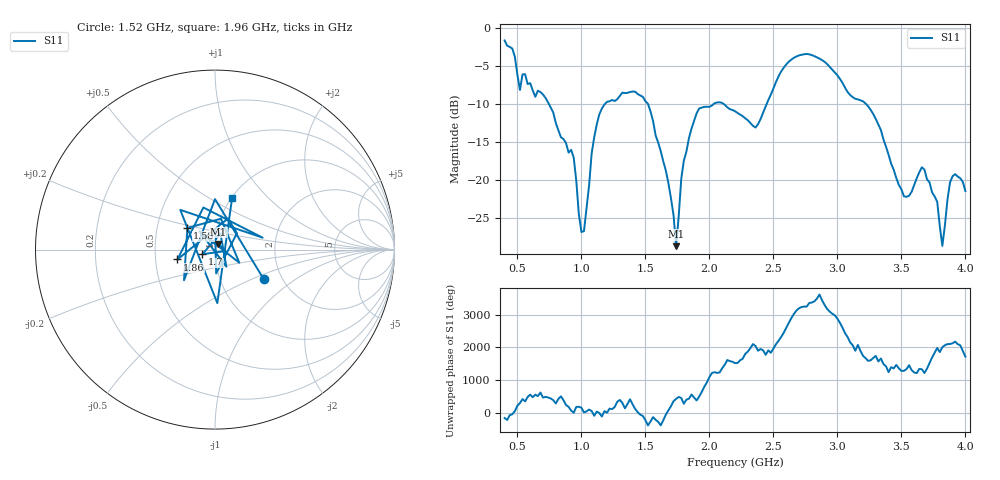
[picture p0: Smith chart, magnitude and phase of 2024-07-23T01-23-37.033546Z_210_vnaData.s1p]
!Created with skrf (http://scikit-rf.org).
# Hz S RI R 50.0
!freq ReS11 ImS11
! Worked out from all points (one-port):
!   181 points, 400 MHz to 4 GHz, reference 50 ohm
!   lowest |S11| = -28.8 dB at 1.74 GHz (marker M1), VSWR 1.08, Z = 51.7 + j3.3 ohm
!   |S11| at or under -10 dB: 745.1 MHz to 1.186 GHz (440.5 MHz wide, 45.6 % of centre); 1.519 GHz to 2.036 GHz (516.4 MHz wide, 29 % of centre); 3.222 GHz to end of sweep (the widest 3 of 4)
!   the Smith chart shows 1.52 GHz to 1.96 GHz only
!   S11 on the Smith chart (normalised r, x): 1.52 GHz: 1.61, -0.58; 1.58 GHz: 0.71, +0.18; 1.7 GHz: 0.87, -0.04; 1.86 GHz: 0.65, -0.07; 1.96 GHz: 1.01, +0.64
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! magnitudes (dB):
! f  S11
! 400 MHz  -1.7
! 520 MHz  -8.2
! 560 MHz  -6.1
! 860 MHz  -14.7
! 940 MHz  -17.1
! 980 MHz  -24.6
! 1.02 GHz  -26.8
! 1.14 GHz  -11.4
! 1.3 GHz  -9.0
! 1.52 GHz  -10.0
! 1.58 GHz  -14.2
! 1.7 GHz  -22.5
! 1.74 GHz  -28.8
! 1.76 GHz  -24.9
! 1.8 GHz  -17.5
! 1.86 GHz  -13.3
! 1.96 GHz  -10.4
! 2.2 GHz  -11.0
! 2.36 GHz  -13.1
! 2.66 GHz  -3.9
! 3.1 GHz  -8.9
! 3.28 GHz  -11.4
! 3.56 GHz  -22.1
! 3.68 GHz  -18.7
! 3.78 GHz  -22.9
! 3.82 GHz  -28.7
! 3.9 GHz  -19.5
! 4 GHz  -21.5
